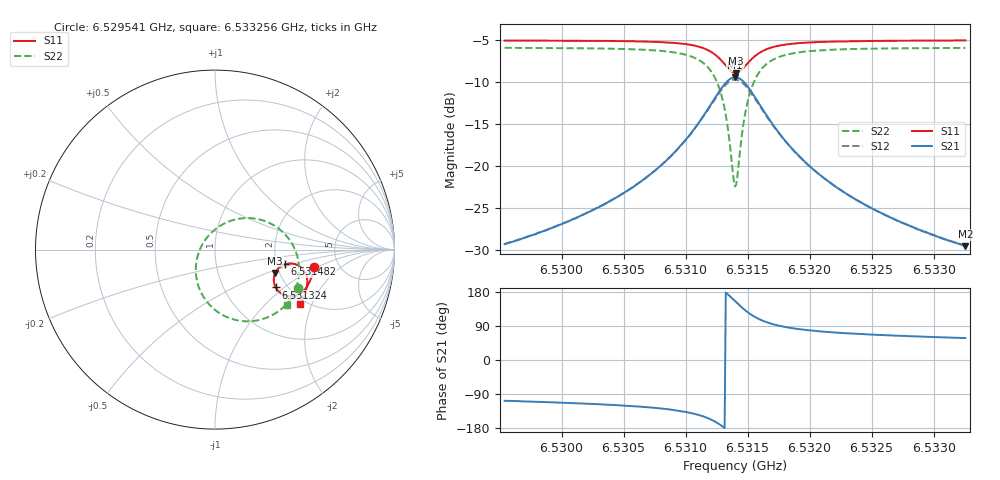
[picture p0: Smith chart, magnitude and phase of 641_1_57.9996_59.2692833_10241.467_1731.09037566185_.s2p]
#  HZ  S  RI  R  50.00
! Rohde & Schwarz Vector Network Analyzer
! Rohde-Schwarz,ZNB20-2Port,1311601062101988,3.16
! Created: UTC 3/21/2024, 1:19:02 AM
! freq[Hz]  re:S11  im:S11  re:S21  im:S21  re:S12  im:S12  re:S22  im:S22
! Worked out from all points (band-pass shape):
!   401 points, 6.529541 GHz to 6.533256 GHz, reference 50 ohm
!   highest |S21| = -9.39 dB at 6.531399 GHz (marker M1); lowest = -29.5 dB at 6.533256 GHz (marker M2)
!   |S21| within 3 dB of the highest: 6.531214 GHz to 6.531586 GHz (371.5 kHz wide, 0.00569 % of centre)
!   lowest |S11| = -8.9 dB at 6.531408 GHz (marker M3), VSWR 2.13, Z = 95 - j28.4 ohm
!   |S11| at or under -10 dB: nowhere
!   |S22| runs from -22.4 to -5.9 dB; largest |S21 - S12| = 0.014
!   S11 on the Smith chart (normalised r, x): 6.529541 GHz: 3.27, -0.92; 6.531324 GHz: 1.74, -0.87; 6.531482 GHz: 2.21, -0.43; 6.533256 GHz: 1.84, -1.64
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6.5295412e9  0.552 -0.0969  -0.0104 -0.0327  -0.0111 -0.0324  0.4601 -0.2144
6.5301635e9  0.5388 -0.1496  -0.0214 -0.0462  -0.0224 -0.0458  0.4241 -0.2731
6.5305071e9  0.5256 -0.1826  -0.0352 -0.06  -0.0369 -0.0591  0.388 -0.3145
6.5307857e9  0.5066 -0.214  -0.0599 -0.0784  -0.0623 -0.0765  0.3324 -0.3573
6.5310086e9  0.4745 -0.244  -0.1076 -0.0987  -0.1105 -0.0944  0.2374 -0.3942
6.5311665e9  0.4241 -0.2598  -0.1862 -0.1001  -0.1879 -0.0919  0.0954 -0.3866
6.5312593e9  0.3739 -0.2478  -0.2631 -0.0623  -0.2604 -0.051  -0.03 -0.3078
6.5312965e9  0.3521 -0.2304  -0.295 -0.0263  -0.2891 -0.0147  -0.0765 -0.2412
6.5313243e9  0.3382 -0.2109  -0.3139 0.0113  -0.305 0.0218  -0.1002 -0.1754
6.5313801e9  0.328 -0.1579  -0.3199 0.1065  -0.3069 0.1119  -0.0913 -0.0179
6.5313986e9  0.3321 -0.1392  -0.3092 0.1394  -0.296 0.1423  -0.0679 0.0332
6.5314079e9  0.3357 -0.1301  -0.3014 0.1548  -0.2883 0.1565  -0.0526 0.057
6.5314172e9  0.3402 -0.1216  -0.2922 0.1695  -0.2794 0.1701  -0.0349 0.0789
6.5314451e9  0.3582 -0.0998  -0.2576 0.206  -0.2463 0.2036  0.028 0.1321
6.5314822e9  0.3882 -0.0822  -0.203 0.2347  -0.1948 0.2306  0.1223 0.1698
6.5315472e9  0.4382 -0.079  -0.1161 0.2394  -0.1121 0.2352  0.268 0.1622
6.5316401e9  0.4825 -0.1025  -0.0407 0.2037  -0.0389 0.2014  0.3895 0.0859
6.5317794e9  0.5079 -0.1419  0.00354 0.1489  0.00475 0.1482  0.4541 -0.0226
6.5320208e9  0.5141 -0.1893  0.021 0.0948  0.0222 0.0943  0.4681 -0.1334
6.5322995e9  0.5077 -0.2251  0.0228 0.0643  0.0238 0.0641  0.4557 -0.2016
6.5326431e9  0.4959 -0.2583  0.0212 0.0451  0.0218 0.0449  0.436 -0.2522
6.533256e9  0.4714 -0.3056  0.0178 0.0282  0.0184 0.0281  0.401 -0.31
